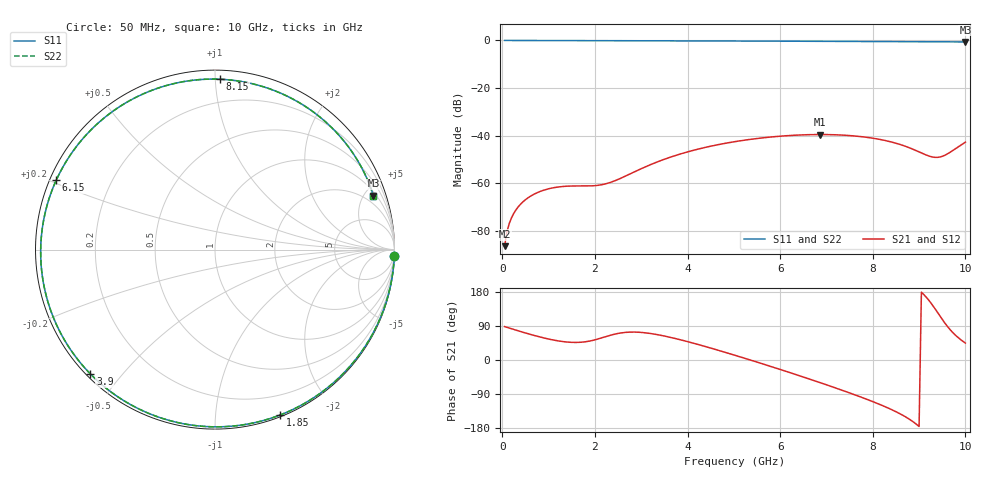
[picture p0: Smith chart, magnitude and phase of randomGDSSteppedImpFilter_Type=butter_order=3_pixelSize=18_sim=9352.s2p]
! freq	dB(S11)	phase(S11)	dB(S12)	phase(S12)
!  dB(S21)	phase(S21)	dB(S22)	phase(S22)
!S-par simulation data
#  GHz  S  DB  R 50
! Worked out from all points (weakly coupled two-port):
!   200 points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, 50 MHz to 10 GHz, reference 50 ohm
!   highest |S21| = -39.54 dB at 6.85 GHz (marker M1); lowest = -86.5 dB at 50 MHz (marker M2)
!   lowest |S11| = -0.6 dB at 10 GHz (marker M3), VSWR 28.53, Z = 62.7 + j288 ohm
!   |S11| at or under -10 dB: nowhere
!   |S22| runs from -0.6 to 0.0 dB; largest |S21 - S12| = 0
!   S11 on the Smith chart (normalised r, x): 50 MHz: 0, -59; 1.85 GHz: 0.02, -1.47; 3.9 GHz: 0.01, -0.41; 6.15 GHz: 0.02, +0.21; 8.15 GHz: 0.05, +1.03; 10 GHz: 1.25, +5.77
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0.05  -0.00 -1.9  -86.46 88.1  -86.46 88.1  -0.00 -1.9
0.1  -0.00 -3.9  -80.45 86.2  -80.45 86.2  -0.00 -3.9
0.2  -0.01 -7.7  -74.49 82.4  -74.49 82.4  -0.01 -7.7
0.35  -0.02 -13.4  -69.79 76.7  -69.79 76.7  -0.02 -13.4
0.65  -0.03 -24.8  -64.98 66.1  -64.98 66.1  -0.03 -24.8
1.1  -0.05 -41.6  -61.92 52.8  -61.92 52.8  -0.05 -41.6
1.75  -0.08 -65.1  -61.17 47.4  -61.17 47.4  -0.08 -65.1
1.85  -0.08 -68.6  -61.16 49.1  -61.16 49.1  -0.08 -68.6
2.2  -0.10 -80.7  -60.42 60.4  -60.42 60.4  -0.10 -80.7
2.6  -0.11 -94.0  -57.54 72.1  -57.54 72.1  -0.11 -94.0
3.4  -0.15 -119.7  -50.65 65.7  -50.65 65.7  -0.15 -119.7
3.9  -0.17 -135.1  -47.39 51.7  -47.39 51.7  -0.17 -135.1
5.05  -0.23 -169.8  -42.44 11.5  -42.44 11.5  -0.23 -169.8
6.15  -0.31 156.4  -40.02 -30.8  -40.02 -30.8  -0.31 156.4
6.7  -0.35 138.7  -39.57 -53.0  -39.57 -53.0  -0.35 138.7
6.85  -0.36 133.7  -39.54 -59.2  -39.54 -59.2  -0.36 133.7
7.55  -0.41 109.8  -40.05 -89.1  -40.05 -89.1  -0.41 109.8
8.15  -0.45 88.2  -41.58 -117.2  -41.58 -117.2  -0.45 88.2
8.35  -0.46 80.8  -42.42 -127.7  -42.42 -127.7  -0.46 80.8
9.35  -0.54 43.2  -49.14 134.2  -49.14 134.2  -0.54 43.1
9.55  -0.56 35.6  -48.31 98.5  -48.31 98.5  -0.56 35.5
10  -0.61 18.8  -42.74 44.5  -42.74 44.5  -0.61 18.8
